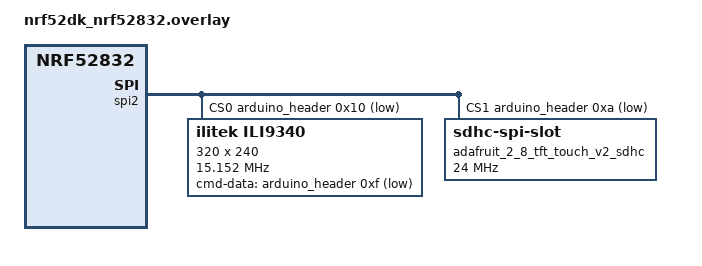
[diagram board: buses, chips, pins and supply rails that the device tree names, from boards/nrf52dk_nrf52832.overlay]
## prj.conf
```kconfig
#
# Copyright (c) 2024 Nordic Semiconductor ASA
#
# SPDX-License-Identifier: Apache-2.0
#

# Logging
CONFIG_LOG=y

# STEP 1.1 - Enable Kconfigs for SPI and GPIO
CONFIG_GPIO=y
CONFIG_SPI=y


# STEP 1.2 - Enable display drivers and increase heap
CONFIG_DISPLAY=y
CONFIG_HEAP_MEM_POOL_SIZE=16384
```

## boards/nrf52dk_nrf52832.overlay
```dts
&spi2{
        compatible = "nordic,nrf-spi";
        #address-cells = < 0x1 >;
        #size-cells = < 0x0 >;
        reg = < 0x40023000 0x1000 >;
        interrupts = < 0x23 0x1 >;
        max-frequency = < 0x7a1200 >;
        easydma-maxcnt-bits = < 0x8 >;
        status = "okay";
        cs-gpios = < &arduino_header 0x10 0x1 >, < &arduino_header 0xa 0x1 >;
        pinctrl-0 = < &spi2_default >;
        pinctrl-1 = < &spi2_sleep >;
        pinctrl-names = "default", "sleep";
        ili9340: ili9340@0 {
                compatible = "ilitek,ili9340";
                spi-max-frequency = < 0xe7319b >;
                reg = < 0x0 >;
                cmd-data-gpios = < &arduino_header 0xf 0x1 >;
                width = < 0x140 >;
                height = < 0xf0 >;
                pixel-format = < 0x1 >;
                rotation = < 0x5a >;
                frmctr1 = [ 00 18 ];
                pwctrl1 = [ 23 00 ];
                vmctrl1 = [ 3E 28 ];
                vmctrl2 = [ 86 ];
                pgamctrl = [ 0F 31 2B 0C 0E 08 4E F1 37 07 10 03 0E 09 00 ];
                ngamctrl = [ 00 0E 14 03 11 07 31 C1 48 08 0F 0C 31 36 0F ];
        };
        adafruit_2_8_tft_touch_v2_sdhc: sdhc@1 {
                compatible = "zephyr,sdhc-spi-slot";
                reg = < 0x1 >;
                status = "okay";
                spi-max-frequency = < 0x16e3600 >;
                mmc {
                        compatible = "zephyr,sdmmc-disk";
                        status = "okay";
                };
        };
};

&pinctrl {
    spi2_default{
        group1 {
                psels = <NRF_PSEL(SPIM_SCK, 0, 13)>,
                        <NRF_PSEL(SPIM_MISO, 0, 12)>,
                        <NRF_PSEL(SPIM_MOSI, 0, 11)>;
        };
    };

    spi2_sleep{
        group1 {
                psels = <NRF_PSEL(SPIM_SCK, 0, 13)>,
                        <NRF_PSEL(SPIM_MISO, 0, 12)>,
                        <NRF_PSEL(SPIM_MOSI, 0, 11)>;
                low-power-enable;
        };
    };
};
```

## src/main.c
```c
/*
 * Copyright (c) 2024 Nordic Semiconductor ASA
 *
 * SPDX-License-Identifier: Apache-2.0
 */

#include <zephyr/logging/log.h>
#include <zephyr/kernel.h>
#include <zephyr/device.h>
#include <zephyr/devicetree.h>
#include <zephyr/drivers/display.h>

/* STEP 7 - Include the header file for the ili_screen_controller module*/
#include "ili_screen_controller.h"

LOG_MODULE_REGISTER(Lesson4_Exercise2, LOG_LEVEL_INF);

#define BKGCOLOR 	0x00U		// Greyscale value for background
#define HLINECOLOR	0xFF0000	// RGB value for line-color (0xRRGGBB)
#define DLINECOLOR  0x0000FF	// RGB value for pixelated diagonal line (0xRRGGBB)
#define BOXCOLOR	0xFFFF00	// RGB value for box-color (0xRRGGBB)
#define DELAY		20			// Delay in ms for visual effect

int set_background_color(const struct device *screen, struct display_capabilities cap)
{
	uint8_t *buf;
	size_t buf_size;  
	uint16_t h_step = 1;
	int err;
	struct display_buffer_descriptor buf_desc;
	
	/* Set buffer size for one row and allocate buffer (1 pixel = 3 bytes) */
	buf_size = cap.x_resolution;
	buf_size *= 3;
	buf = k_malloc(buf_size);
	if (buf == NULL) {
		LOG_ERR("set_background_color: Memory allocation error");
		return -1;
	}

	/* Fill the buffer with greyscale and set buffer descriptor */
	(void)memset(buf, BKGCOLOR, buf_size);
	buf_desc.buf_size = buf_size;
	buf_desc.width = cap.x_resolution;	
	buf_desc.height = h_step;
	buf_desc.pitch = cap.x_resolution;
	
	/* STEP 8 - Write background values to screen (row by row) and free buffer */
	for (int idx = 0; idx < cap.y_resolution; idx += h_step) {	
		err = screen_write(screen, 0, idx, &buf_desc, buf);
		if (err < 0){
			return err;
		}
	}
	k_free(buf);
	return 0;
}

int draw_diagonal_line(const struct device *screen, uint8_t x, uint8_t y, uint8_t nump)
{
	uint8_t *buf;
	uint8_t buf_size = 1;
	int err;
	struct display_buffer_descriptor buf_desc;
	buf_size *= 3;

	/* Set buffer and descriptor for a single pixel */
	buf = k_malloc(buf_size);
	if (buf == NULL) {
		LOG_ERR("draw_diagonal_line: Memory allocation error");
		return -1;
	}

	buf_desc.buf_size = buf_size;
	buf_desc.width = buf_size;
	buf_desc.height = 1;
	buf_desc.pitch = buf_size;

	/* Fill the color buffer */
	fill_buf_24bit(DLINECOLOR, buf, buf_size);

	LOG_INF("Displaying diagonal line, starting pixel (x, y) = %2d, %2d", x, y);
	/* STEP 9 - Display a diagonal line given a starting location (x,y) */
	for (int i = 0; i < nump; i++)		
	{			
		err = screen_write(screen, x++, y++, &buf_desc, buf);
		if (err < 0) {
			return err;
		}
		display_blanking_off(screen);
		k_msleep(DELAY);
	}
	k_free(buf);
	LOG_INF("Last pixel (x, y)= %2d, %2d", x, y);
	return 0;
}

int draw_lines(const struct device *screen, uint8_t x, uint8_t y, uint8_t dy, uint8_t w, uint8_t numl)
{
	uint8_t *buf;
	size_t buf_size;
	int err;
	struct display_buffer_descriptor buf_desc;

	buf_size = w;
	buf_size *= 3;
	
	/* Set buffer and descriptor for a single line */		
	buf = k_malloc(buf_size);
	if (buf == NULL) {
		LOG_ERR("draw_lines: Memory allocation error");
		return -1;
	}
	buf_desc.buf_size = buf_size;
	buf_desc.width = buf_size;
	buf_desc.height = 1;
	buf_desc.pitch = buf_size;
		
	/* Fill the color buffer */
	fill_buf_24bit(HLINECOLOR, buf, buf_size);	
	
	LOG_INF("Displaying series of lines (1 line at a time), starting line (x, y) = %2d, %2d", x, y);
	/* STEP 10 - Display multiple straight lines with screen_write() */
	for (int i = 0; i < numl; i++)
	{		
		err = screen_write(screen, x, y, &buf_desc, buf);
		if (err < 0) {
			return err;
		}
		y -= dy;				
		display_blanking_off(screen);
		k_msleep(DELAY);
	}
	k_free(buf);
	LOG_INF("Last line (x, y)= %2d, %2d", x, y);
	return 0;
}


int draw_box(const struct device *screen, uint8_t x, uint8_t y, uint8_t w, uint8_t h )
{
	uint8_t *buf;
	size_t buf_size;
	int err;
	struct display_buffer_descriptor buf_desc;

	/* Set buffer and descriptor for rectangular box */
	buf_size = w * h;
	buf_size *= 3;
	buf = k_malloc(buf_size);
	if (buf == NULL) {
		LOG_ERR("draw_box: Memory allocation Error");
		return -1;
	}
	buf_desc.buf_size = buf_size;
	buf_desc.width = w;
	buf_desc.height = h;
	buf_desc.pitch = w;
	
	/* Fill the color buffer */
	fill_buf_24bit(BOXCOLOR, buf, buf_size);

	LOG_INF("Displaying a rectangular box, top left corner (x,y) = %2d, %2d", x, y);
	/* STEP 11 - Draw a  rectangular box, given the top left hand corner (x,y) */
	err = screen_write(screen, x, y, &buf_desc, buf);
	if (err < 0) {
		return err;
	}

	k_free(buf);
	LOG_INF("Bottom right corner (x, y) of box = %2d, %2d", x+w, y+h);
	display_blanking_off(screen);

	return 0;
}

int main(void)
{
	int err;

	/* Initialize variables to suitable values (as per screen size) */
	size_t x = 0, y = 0, dy = 0;						
	size_t w = 80, h = 40;								
	const struct device *screen;						
	struct display_capabilities cap;					
	uint8_t num_pixels = 100;	
	uint8_t num_lines = 25;																				

	/* STEP 12 - Obtain the screen node from device tree */
	screen = DEVICE_DT_GET(DT_NODELABEL(ili9340));
	if (!device_is_ready(screen)) {
		LOG_ERR("Device %s not found; Aborting", screen->name);
		return 0;
	}

	/* Setting orientation 1 (W=320 H=240) */
	err = display_set_orientation(screen, 1);
	if (err < 0) {
		LOG_ERR("Error %d",err);
		return 0;
	}
	
	/* Setting pixel format 1 (24 bit) */
	err = display_set_pixel_format(screen, 1);
	if (err < 0) {
		LOG_ERR("Error %d",err);
		return 0;
	}

	/* Obtain and display screen capabilities */
	display_get_capabilities(screen, &cap);

	LOG_INF("Display Sample on %s: Orientation=%d,  Pixel-format=%d,   X-res=%d,   Y-res=%d", \
							screen->name, cap.current_orientation, cap.current_pixel_format,  \
							cap.x_resolution, cap.y_resolution);

	/* STEP 13 - Observe that we call the previously define functions one-by-one */
	/* Set the background color */
	err = set_background_color(screen, cap);
	if (err < 0) {
		LOG_ERR("Error %d",err);
		return 0;
	}

	/* Display a diagonal line (pixel by pixel) */
	x = 20;
	y = 20;
	err = draw_diagonal_line(screen, x, y, num_pixels);
	if (err < 0) {
		LOG_ERR("Error %d",err);
		return 0;
	}
	
	/* Display a series of lines (1 line at a time) */
	x = 100; 
	y = 100;
	dy = 3;	
	err = draw_lines(screen, x, y, dy, w, num_lines);
	if (err < 0) {
		LOG_ERR("Error %d",err);
		return 0;
	}

	/* Display a rectangular box */
	x = 30; 
	y = 130;
	err = draw_box(screen, x, y, w, h);
	if (err < 0) {
		LOG_ERR("Error %d",err);
		return 0;
	}

	return 0;
}
```

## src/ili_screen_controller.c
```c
/*
 * Copyright (c) 2024 Nordic Semiconductor ASA
 *
 * SPDX-License-Identifier: Apache-2.0
 */

#include <zephyr/kernel.h>
#include <zephyr/logging/log.h>

/* STEP 3.1 - Include the header files for SPI, GPIO and devicetree */
#include <zephyr/device.h>
#include <zephyr/devicetree.h>
#include <zephyr/drivers/gpio.h>
#include <zephyr/drivers/spi.h>

/* STEP 3.2 - Include display driver and custom header files */
#include <zephyr/sys/byteorder.h>
#include <zephyr/drivers/display.h>
#include "ili_screen_controller.h"

LOG_MODULE_DECLARE(Lesson4_Exercise2, LOG_LEVEL_INF);

/* Structure for ILI9340 controller configuration*/
enum madctl_cmd_set {CMD_SET_1,	CMD_SET_2,};
struct ili9xxx_quirks {enum madctl_cmd_set cmd_set;};
struct ili_ctrl_config {
	const struct ili9xxx_quirks *quirks;
	struct spi_dt_spec spi;
	struct gpio_dt_spec cmd_data;
	struct gpio_dt_spec reset;
	uint8_t pixel_format;
	uint16_t rotation;
	uint16_t x_resolution;
	uint16_t y_resolution;
	bool inversion;
	const void *regs;
	int (*regs_init_fn)(const struct device *dev);
};

/* Structure for ILI9340 controller data*/
struct ili_ctrl_data {
	uint8_t bytes_per_pixel;
	enum display_pixel_format pixel_format;
	enum display_orientation orientation;
};

/* Function to fill buffer with RBG color */
void fill_buf_24bit(uint32_t color, uint8_t *buf, size_t buf_size)
{
	for (size_t idx = 0; idx < buf_size; idx += 3) {
		*(buf + idx + 0) = color >> 16;
		*(buf + idx + 1) = color >> 8;
		*(buf + idx + 2) = color >> 0;
	}
}

/* Function for Screen SPI Controller to transmit the command and data
 * It takes device pointer, 1-byte command, data pointer and length
 * The function calls underlying GPIO and SPI functions to transfer */
int spi_ctrl_transmit(const struct device *dev, uint8_t cmd, const void *tx_data, size_t tx_len)
{
	int err;
	const struct ili_ctrl_config *config = dev->config;
	
	/* STEP 4.1 - Declare and configure the transmit buffers with command parameters */
	struct spi_buf tx_buf;
	struct spi_buf_set tx_bufs; 

	tx_buf.buf = &cmd;
	tx_buf.len = 1U;
	tx_bufs.buffers = &tx_buf;
	tx_bufs.count = 1U;

	/* STEP 4.2 - Set GPIO pin for Command and write using spi_write_dt() */
	gpio_pin_set_dt(&config->cmd_data, 1); 
	err = spi_write_dt(&config->spi, &tx_bufs);
	if (err < 0) {
		LOG_ERR("spi_ctrl_transmit: Error on %s", config->spi.bus->name);
		return err;
	}

	/* STEP 4.3 - Transmit the data that follows the command, if any. */
	if (tx_data != NULL) {
		tx_buf.buf = (void *)tx_data;
		tx_buf.len = tx_len;
		gpio_pin_set_dt(&config->cmd_data, 0);
		err = spi_write_dt(&config->spi, &tx_bufs);
		if (err < 0) {
			LOG_ERR("spi_ctrl_transmit: Error on %s", config->spi.bus->name);
			return err;
		}		
	}

	return 0;
}

/* Function to set ili controller memory area
 * It takes device pointer, (x,y) coordinates, and (w,h) area parameters
 * w=width h=height x_start=x, x_end=x+w-1, y_end=y+h-1
 * The function calls spi_ctrl_transmit() to transmit command & data */
int ili_ctrl_setmem(const struct device *dev, const uint16_t x, const uint16_t y, \
						   const uint16_t w, const uint16_t h)
{
	int err;
	uint16_t spi_xdata[2];
	uint16_t spi_ydata[2];

	/* Set and transmit column and row starting and ending address */
	spi_xdata[0] = sys_cpu_to_be16(x);
	spi_xdata[1] = sys_cpu_to_be16(x + w - 1U);
	spi_ydata[0] = sys_cpu_to_be16(y);
	spi_ydata[1] = sys_cpu_to_be16(y + h - 1U);

	/* STEP 5 - Call spi_ctrl_transmit() to transmit CASET and PASET commands */
	err = spi_ctrl_transmit(dev, ILI9XXX_CASET, &spi_xdata[0], 4U);	
	if (err < 0) {
		return err;
	}
	err = spi_ctrl_transmit(dev, ILI9XXX_PASET, &spi_ydata[0], 4U);
	if (err < 0) {
		return err;
	}
	return 0;
}

/* Function to write to the screen
 * It takes device pointer, (x,y) starting coordinates, descriptor and buffer
 * It calls ili_ctrl_setmem() to set the active area
 * And then writes buffer into active area memory using spi_ctrl_transmit() */
int screen_write(const struct device *dev, const uint16_t x, const uint16_t y, \
			 const struct display_buffer_descriptor *desc, const void *buf)
{
	int err;
	const uint8_t *data_start_addr = (const uint8_t *)buf;

	const struct ili_ctrl_config *config = dev->config;
	struct ili_ctrl_data *data = dev->data;

	struct spi_buf tx_buf;
	struct spi_buf_set tx_bufs;

	uint16_t write_cnt;
	uint16_t nbr_of_writes;
	uint16_t write_h;

	err = ili_ctrl_setmem(dev, x, y, desc->width, desc->height);
	if (err < 0) {
		return err;
	}

	if (desc->pitch > desc->width) {write_h = 1U; nbr_of_writes = desc->height;}
	else {write_h = desc->height; nbr_of_writes = 1U;}

	/* STEP 6 - Call spi_ctrl_transmit() to send the RAMWR command */
	err = spi_ctrl_transmit(dev, ILI9XXX_RAMWR, data_start_addr,
			     desc->width * data->bytes_per_pixel * write_h);
	if (err < 0) {
		return err;
	}

	tx_bufs.buffers = &tx_buf;
	tx_bufs.count = 1;

	data_start_addr += desc->pitch * data->bytes_per_pixel;
	for (write_cnt = 1U; write_cnt < nbr_of_writes; ++write_cnt) {
		tx_buf.buf = (void *)data_start_addr;
		tx_buf.len = desc->width * data->bytes_per_pixel * write_h;

		err = spi_write_dt(&config->spi, &tx_bufs);
		if (err < 0) {
			return err;
		}

		data_start_addr += desc->pitch * data->bytes_per_pixel;
	}

	return 0;
}
```
